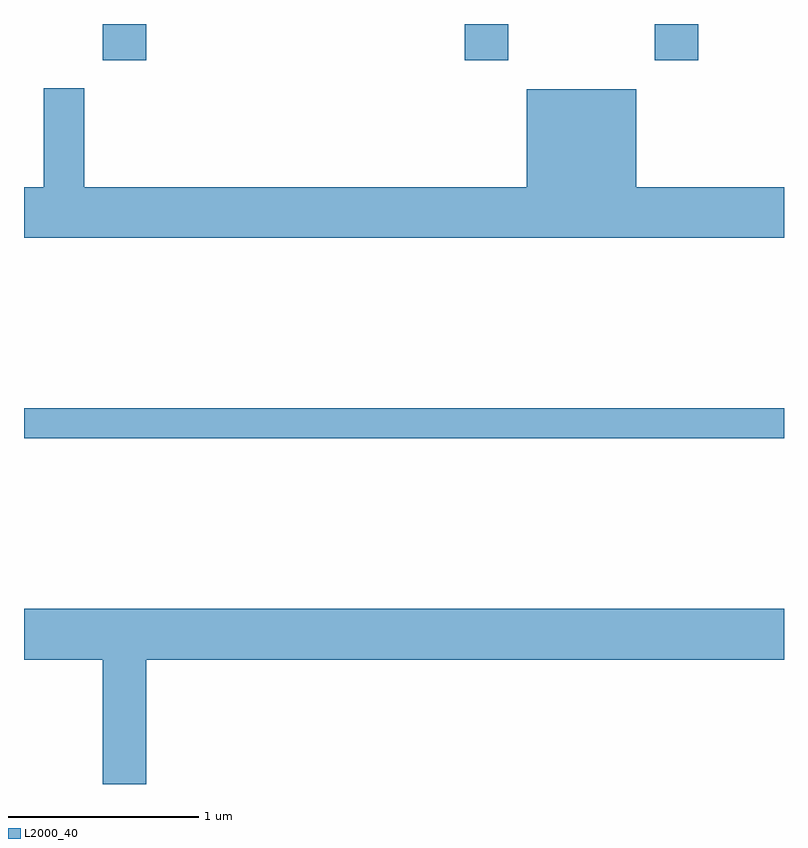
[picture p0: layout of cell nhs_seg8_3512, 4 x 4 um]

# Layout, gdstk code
import gdstk
lib = gdstk.Library(unit=1e-6, precision=1e-09)
def R(c, l, rs):  # rectangles x0, y0, x1, y1
    for r in rs: c.add(gdstk.rectangle(r[:2], r[2:], *l))
def P(c, l, *ps):  # polygons
    for p in ps: c.add(gdstk.Polygon(p, *l))
L2000_40 = (2000, 40)

nhs_seg8_3512 = lib.new_cell('nhs_seg8_3512')
R(nhs_seg8_3512, L2000_40, [(289.611,1924.161,293.611,1924.319), (290.026,1926.151,290.254,1926.342), (291.931,1926.151,292.159,1926.342), (292.931,1926.151,293.159,1926.342)])
P(nhs_seg8_3512, L2000_40, [(293.611,1925.484),(292.834,1925.484),(292.834,1925.999),(292.256,1925.999),(292.256,1925.484),(289.929,1925.484),(289.929,1926.004),(289.716,1926.004),(289.716,1925.484),(289.611,1925.484),(289.611,1925.216),(293.611,1925.216)],
  [(290.254,1922.996),(293.611,1922.996),(293.611,1923.264),(289.611,1923.264),(289.611,1922.996),(290.026,1922.996),(290.026,1922.342),(290.254,1922.342)])

lib.write_gds('nhs_seg8_3512.gds')
